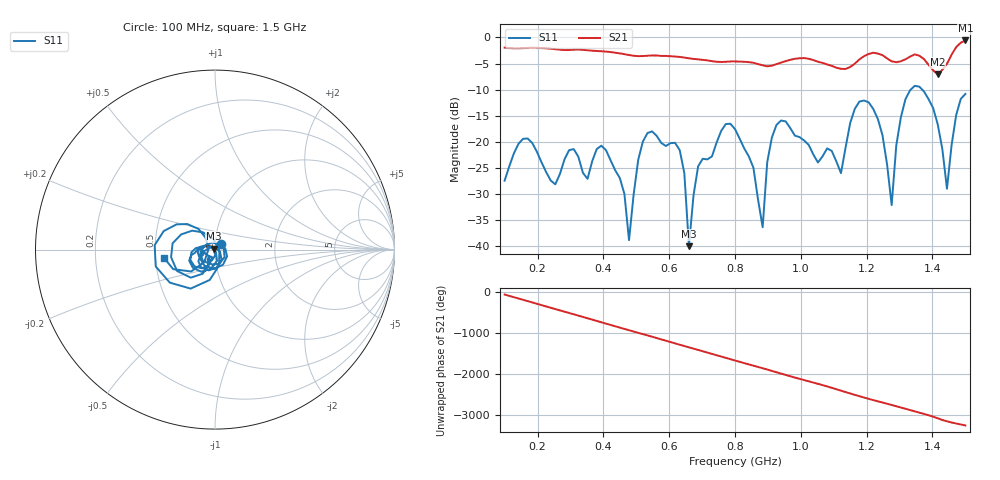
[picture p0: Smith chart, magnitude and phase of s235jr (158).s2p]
! NanoVNA-App
! Date: 2025-09-25 15:05:23
! Start: 100MHz Stop: 1,5GHz Points: 101
! S-Parameter data: F S11 S21 S12 S22
# Hz S RI R 50
!  Frequency  S11_Real  S11_Imag  S21_Real  S21_Imag  S12_Real  S12_Imag  S22_Real  S22_Imag
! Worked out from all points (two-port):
!   101 points, 100 MHz to 1.5 GHz, reference 50 ohm
!   highest |S21| = -0.58 dB at 1.5 GHz (marker M1); lowest = -7.1 dB at 1.416 GHz (marker M2)
!   |S21| within 3 dB of the highest: start of sweep to 504.1 MHz; 512.8 MHz to 597.7 MHz (84.96 MHz wide, 15.3 % of centre) (the widest 2 of 5)
!   lowest |S11| = -40.0 dB at 660 MHz (marker M3), VSWR 1.02, Z = 49.2 + j0.577 ohm
!   |S11| at or under -10 dB: start of sweep to 1.334 GHz; 1.369 GHz to end of sweep
!   S12 and S22 are empty: the file has one direction only
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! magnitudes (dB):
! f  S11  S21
! 100 MHz  -27.5  -2.0
! 156 MHz  -19.4  -2.1
! 338 MHz  -26.0  -2.4
! 408 MHz  -21.6  -2.7
! 478 MHz  -38.9  -3.4
! 520 MHz  -20.0  -3.6
! 576 MHz  -20.2  -3.5
! 632 MHz  -21.6  -3.7
! 660 MHz  -40.0  -4.0
! 688 MHz  -24.7  -4.2
! 800 MHz  -17.6  -4.6
! 884 MHz  -36.4  -5.3
! 898 MHz  -23.9  -5.5
! 926 MHz  -16.8  -5.1
! 1.038 GHz  -22.5  -4.3
! 1.122 GHz  -26.0  -6.0
! 1.206 GHz  -12.4  -3.2
! 1.276 GHz  -32.2  -4.6
! 1.332 GHz  -10.1  -3.7
! 1.416 GHz  -16.7  -7.1
! 1.444 GHz  -29.0  -5.1
! 1.5 GHz  -10.8  -0.6
